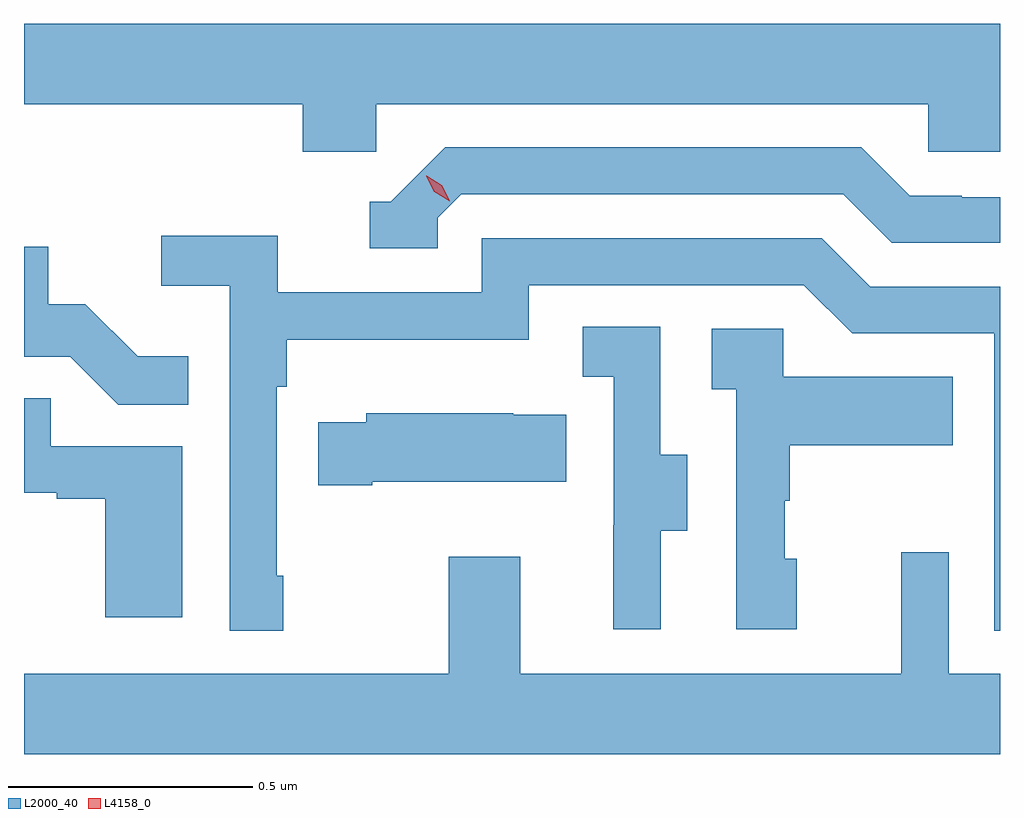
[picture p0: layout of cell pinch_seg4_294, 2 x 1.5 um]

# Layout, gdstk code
import gdstk
lib = gdstk.Library(unit=1e-6, precision=1e-09)
def P(c, l, *ps):  # polygons
    for p in ps: c.add(gdstk.Polygon(p, *l))
L2000_40 = (2000, 40)
L4158_0 = (4158, 0)

pinch_seg4_294 = lib.new_cell('pinch_seg4_294')
P(pinch_seg4_294, L2000_40, [(953.334,796.82),(954.465,796.82),(954.465,796.722),(954.612,796.722),(954.612,796.984),(952.612,796.984),(952.612,796.82),(953.183,796.82),(953.183,796.722),(953.334,796.722)],
  [(953.46,796.587),(953.508,796.635),(954.291,796.635),(954.39,796.536),(954.612,796.536),(954.612,796.629),(954.534,796.629),(954.534,796.632),(954.427,796.632),(954.328,796.731),(953.475,796.731),(953.364,796.62),(953.321,796.62),(953.321,796.524),(953.46,796.524)],
  [(953.143,795.853),(953.13,795.853),(953.13,796.241),(953.15,796.241),(953.15,796.337),(953.646,796.337),(953.646,796.449),(954.21,796.449),(954.309,796.35),(954.6,796.35),(954.6,795.741),(954.612,795.741),(954.612,796.446),(954.346,796.446),(954.247,796.545),(953.55,796.545),(953.55,796.434),(953.132,796.434),(953.132,796.55),(952.893,796.55),(952.893,796.448),(953.034,796.448),(953.034,795.741),(953.143,795.741)],
  [(952.949,796.303),(952.845,796.303),(952.738,796.41),(952.662,796.41),(952.662,796.527),(952.612,796.527),(952.612,796.302),(952.707,796.302),(952.805,796.204),(952.949,796.204)],
  [(953.917,795.946),(953.971,795.946),(953.971,796.101),(953.916,796.101),(953.916,796.364),(953.757,796.364),(953.757,796.261),(953.82,796.261),(953.82,795.957),(953.819,795.957),(953.819,795.744),(953.917,795.744)],
  [(954.196,795.888),(954.171,795.888),(954.171,796.007),(954.181,796.007),(954.181,796.121),(954.515,796.121),(954.515,796.261),(954.168,796.261),(954.168,796.359),(954.021,796.359),(954.021,796.235),(954.072,796.235),(954.072,795.744),(954.196,795.744)],
  [(952.936,796.119),(952.667,796.119),(952.667,796.217),(952.612,796.217),(952.612,796.023),(952.679,796.023),(952.679,796.011),(952.778,796.011),(952.778,795.768),(952.936,795.768)],
  [(953.326,796.046),(953.723,796.046),(953.723,796.183),(953.615,796.183),(953.615,796.186),(953.313,796.186),(953.313,796.168),(953.215,796.168),(953.215,796.039),(953.326,796.039)],
  [(954.612,795.652),(954.507,795.652),(954.507,795.901),(954.41,795.901),(954.41,795.652),(953.629,795.652),(953.629,795.892),(953.482,795.892),(953.482,795.652),(952.612,795.652),(952.612,795.488),(954.612,795.488)])
P(pinch_seg4_294, L4158_0, [(953.484,796.621),(953.453,796.64),(953.436,796.672),(953.436,796.673),(953.437,796.673),(953.468,796.654),(953.484,796.622),(953.484,796.621)])

lib.write_gds('pinch_seg4_294.gds')
